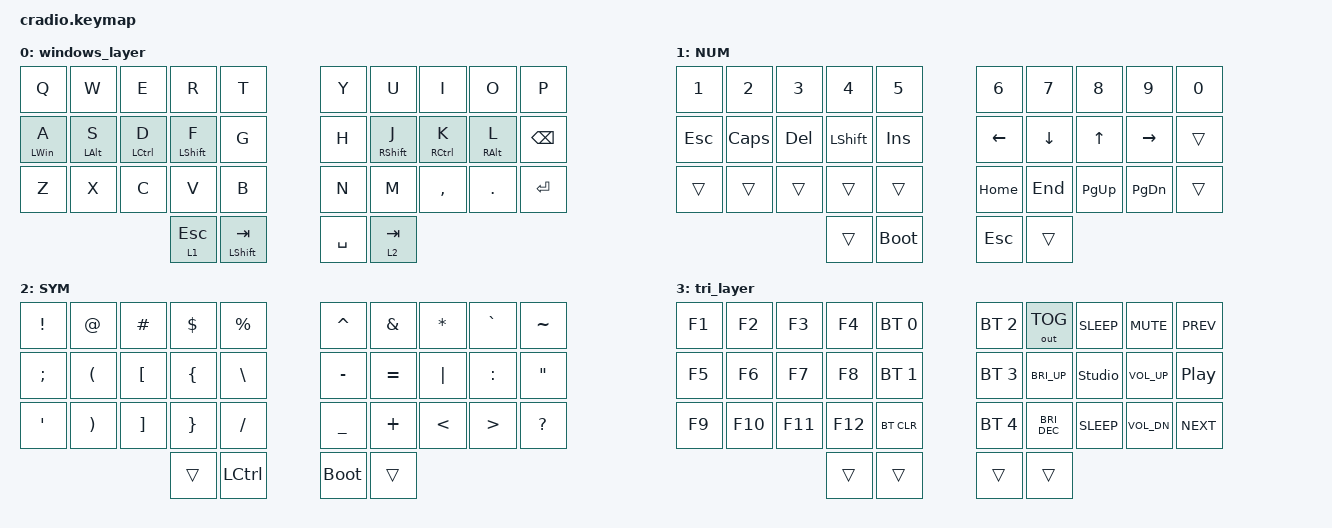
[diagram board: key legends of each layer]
// Copyright (c) 2022 The ZMK Contributors
// SPDX-License-Identifier: MIT
//#define ZMK_MOUSE_DEFAULT_MOVE_VAL 2500  // 600
//#define ZMK_MOUSE_DEFAULT_SCRL_VAL 20    // 10
//#include <dt-bindings/zmk/mouse.h>

#include <behaviors.dtsi>
#include <dt-bindings/zmk/bt.h>
#include <dt-bindings/zmk/keys.h>
#include <dt-bindings/zmk/outputs.h>

//#include <dt-bindings/zmk/pointing.h>

#define WIN 0
#define NUM 1
#define SYM 2
#define TRI 3

//#define MOUSE 4

/ {
    //    chosen { zmk,charmap = &charmap_us; };

    behaviors {
        ht: hold_tap {
            label = "hold_tap";
            compatible = "zmk,behavior-hold-tap";
            #binding-cells = <2>;
            flavor = "tap-preferred";
            tapping-term-ms = <220>;
            quick-tap-ms = <150>;
            global-quick-tap;
            bindings = <&kp>, <&kp>;
        };

        //        mmv {
        //            acceleration-exponent = <1>;      // 1
        //            time-to-max-speed-ms = <300>;    // 40
        //            delay-ms = <0>;                   // 0
        //        };
        //       msc {
        //            acceleration-exponent = <0>;      // 0
        //            time-to-max-speed-ms = <40>;      // 500
        //            delay-ms = <0>;                   // 10
        //        };
    };

    conditional_layers {
        compatible = "zmk,conditional-layers";

        tri_layer {
            if-layers = <1 2>;
            then-layer = <3>;
        };
    };

    keymap {
        compatible = "zmk,keymap";

        windows_layer {
            bindings = <
&kp Q           &kp W       &kp E               &kp R             &kp T             &kp Y      &kp U              &kp I                &kp O            &kp P
&ht LEFT_WIN A  &ht LALT S  &ht LEFT_CONTROL D  &ht LEFT_SHIFT F  &kp G             &kp H      &ht RIGHT_SHIFT J  &ht RIGHT_CONTROL K  &ht RIGHT_ALT L  &kp BSPC
&kp Z           &kp X       &kp C               &kp V             &kp B             &kp N      &kp M              &kp COMMA            &kp DOT          &kp ENTER
                                                &lt 1 ESC         &ht LSHIFT TAB    &kp SPACE  &lt 2 TAB
            >;
        };

        NUM {
            bindings = <
&kp N1   &kp N2    &kp N3   &kp N4          &kp N5         &kp N6    &kp N7    &kp N8     &kp N9     &kp N0
&kp ESC  &kp CAPS  &kp DEL  &kp LEFT_SHIFT  &kp INS        &kp LEFT  &kp DOWN  &kp UP     &kp RIGHT  &trans
&trans   &trans    &trans   &trans          &trans         &kp HOME  &kp END   &kp PG_UP  &kp PG_DN  &trans
                            &trans          &bootloader    &kp ESC   &trans
            >;
        };

        SYM {
            bindings = <
&kp EXCL  &kp AT    &kp HASH  &kp DLLR  &kp PRCNT    &kp CARET    &kp AMPS   &kp ASTRK  &kp GRAVE  &kp TILDE
&kp SEMI  &kp LPAR  &kp LBKT  &kp LBRC  &kp BSLH     &kp MINUS    &kp EQUAL  &kp PIPE   &kp COLON  &kp DQT
&kp SQT   &kp RPAR  &kp RBKT  &kp RBRC  &kp FSLH     &kp UNDER    &kp PLUS   &kp LT     &kp GT     &kp QMARK
                              &trans    &kp LCTRL    &bootloader  &trans
            >;
        };

        tri_layer {
            bindings = <
&kp F1  &kp F2   &kp F3   &kp F4   &bt BT_SEL 0    &bt BT_SEL 2  &out OUT_TOG   &kp C_SLEEP     &kp C_MUTE    &kp C_PREV
&kp F5  &kp F6   &kp F7   &kp F8   &bt BT_SEL 1    &bt BT_SEL 3  &kp C_BRI_UP   &studio_unlock  &kp C_VOL_UP  &kp C_PP
&kp F9  &kp F10  &kp F11  &kp F12  &bt BT_CLR      &bt BT_SEL 4  &kp C_BRI_DEC  &kp K_SLEEP     &kp C_VOL_DN  &kp C_NEXT
                          &trans   &trans          &trans        &trans
            >;
        };

        //        mouse {
        //            bindings = <
        //&trans  &mkp MB4  &mkp MCLK  &mkp MB5   &trans        &msc SCRL_LEFT  &msc SCRL_DOWN  &msc SCRL_UP  &msc SCRL_RIGHT  &trans
        //&trans  &trans    &trans     &trans     &trans        &mmv MOVE_LEFT  &mmv MOVE_DOWN  &mmv MOVE_UP  &mmv MOVE_RIGHT  &trans
        //&trans  &trans    &trans     &trans     &trans        &trans          &mkp MB4        &mkp MCLK     &mkp MB5         &trans
        //                             &kp SPACE  &kp LSHIFT    &mkp LCLK       &mkp RCLK
        //            >;
        //        };
    };
};
